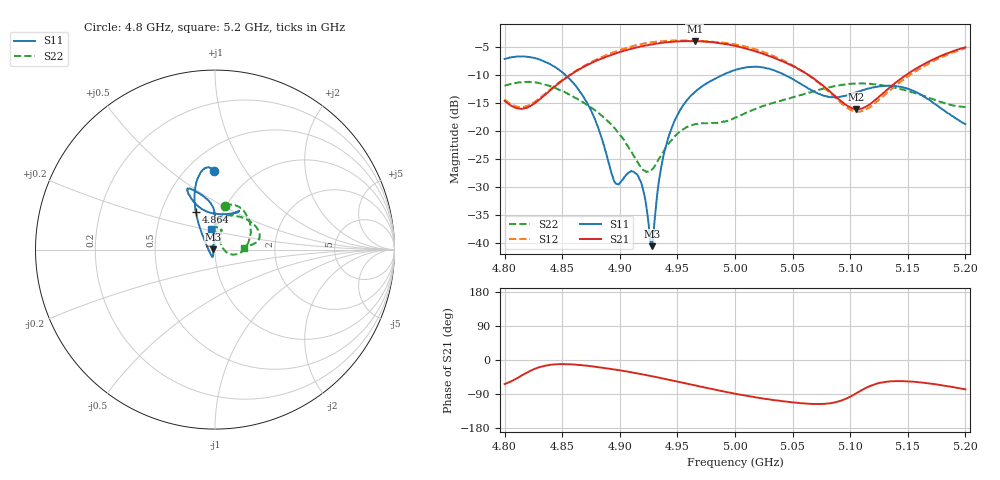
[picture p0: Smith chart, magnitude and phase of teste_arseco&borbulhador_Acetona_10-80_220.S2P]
! Network Analyzer HP8722D
! Hewlett-Packard
! Data name: Linha & Wilkinson
! Saver's name: Rodrigo Anjos
! Comments: Teste da utilização de aquisição
! continua pelo VNA HP8722D
! Time and date: 25/4/2025 17:06
!  Frequency  S11  S21  S12  S22
# HZ  S  MA R 50
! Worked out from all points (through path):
!   401 points, 4.8 GHz to 5.2 GHz, reference 50 ohm
!   highest |S21| = -3.98 dB at 4.965 GHz (marker M1); lowest = -16.1 dB at 5.105 GHz (marker M2)
!   lowest |S11| = -40.6 dB at 4.928 GHz (marker M3), VSWR 1.02, Z = 49.1 + j0.202 ohm
!   |S11| at or under -10 dB: 4.852 GHz to 4.99 GHz (137.5 MHz wide, 2.79 % of centre); 5.043 GHz to end of sweep
!   |S22| runs from -27.4 to -11.3 dB; largest |S21 - S12| = 1.2
!   S11 on the Smith chart (normalised r, x): 4.8 GHz: 0.67, +0.73; 4.864 GHz: 0.75, +0.33; 5.2 GHz: 0.93, +0.21
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4.8e9  0.4367 90.9  0.1846 -63.5  0.1901 69.9  0.2501 76.9
4.82e9  0.4546 97.2  0.1613 -32.0  0.1669 98.8  0.2729 61.5
4.843e9  0.3741 106.7  0.2458 -11.8  0.2495 118.9  0.2443 36.7
4.864e9  0.234 117.1  0.3488 -12.9  0.3522 121.0  0.1897 12.1
4.867e9  0.2115 118.8  0.363 -13.7  0.3677 120.7  0.1823 8.6
4.88e9  0.1145 129.2  0.4229 -18.2  0.4326 118.3  0.148 -5.2
4.896e9  0.03432 -170.5  0.4868 -25.4  0.5062 113.1  0.1042 -15.1
4.91e9  0.04387 -110.5  0.5368 -32.4  0.5625 107.1  0.06505 -12.4
4.917e9  0.03689 -107.2  0.5605 -36.4  0.5872 103.4  0.04932 0.2
4.926e9  0.01149 -142.4  0.5858 -41.7  0.6116 98.2  0.04324 33.8
4.928e9  0.00933 167.3  0.5891 -43.0  0.6152 96.9  0.0451 40.8
4.934e9  0.03577 102.0  0.6022 -46.7  0.6258 93.1  0.05648 57.8
4.939e9  0.06651 94.3  0.6126 -49.7  0.6333 90.0  0.06837 64.9
4.946e9  0.1124 90.7  0.6223 -54.3  0.637 85.6  0.0853 69.5
4.965e9  0.2208 91.4  0.6324 -66.9  0.6351 73.4  0.1141 71.0
5e9  0.3478 109.3  0.5705 -89.0  0.591 50.8  0.1308 88.0
5.031e9  0.3534 115.3  0.4582 -104.5  0.4753 33.4  0.1746 84.4
5.067e9  0.2287 105.7  0.2992 -115.7  0.2965 23.7  0.2222 56.9
5.105e9  0.2198 66.0  0.1559 -88.6  0.1482 54.7  0.2637 25.4
5.134e9  0.2524 58.0  0.2413 -56.6  0.2269 88.8  0.2483 12.4
5.169e9  0.1871 70.8  0.4177 -61.9  0.402 84.9  0.195 6.9
5.2e9  0.1143 100.9  0.5545 -77.5  0.543 70.1  0.1626 3.7
